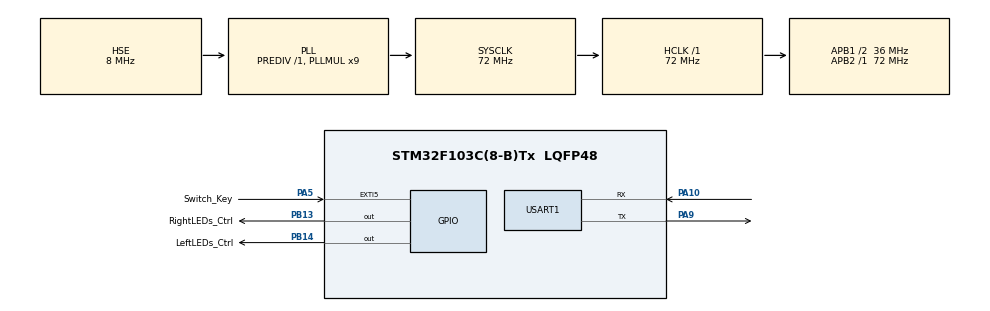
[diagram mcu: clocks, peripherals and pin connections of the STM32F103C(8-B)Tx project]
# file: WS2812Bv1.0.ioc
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Mcu.Family=STM32F1
Mcu.Name=STM32F103C(8-B)Tx
Mcu.Package=LQFP48
NVIC.EXTI9_5_IRQn=true\:0\:0\:false\:false\:true\:true
NVIC.PriorityGroup=NVIC_PRIORITYGROUP_4
NVIC.TIM3_IRQn=true\:0\:0\:false\:true\:true\:2\:true
NVIC.USART1_IRQn=true\:0\:0\:false\:true\:true\:1\:true
PA10.Mode=Asynchronous
PA10.Signal=USART1_RX
PA13.Mode=Serial_Wire
PA13.Signal=SYS_JTMS-SWDIO
PA14.Mode=Serial_Wire
PA14.Signal=SYS_JTCK-SWCLK
PA5.GPIO_Label=Switch_Key
PA5.Signal=GPXTI5
PA9.Mode=Asynchronous
PA9.Signal=USART1_TX
PB13.GPIO_Label=RightLEDs_Ctrl
PB13.GPIO_Speed=GPIO_SPEED_FREQ_HIGH
PB13.PinState=GPIO_PIN_RESET
PB13.Signal=GPIO_Output
PB14.GPIO_Label=LeftLEDs_Ctrl
PB14.GPIO_Speed=GPIO_SPEED_FREQ_HIGH
PB14.PinState=GPIO_PIN_RESET
PB14.Signal=GPIO_Output
PD0-OSC_IN.Mode=HSE-External-Oscillator
PD0-OSC_IN.Signal=RCC_OSC_IN
PD1-OSC_OUT.Mode=HSE-External-Oscillator
PD1-OSC_OUT.Signal=RCC_OSC_OUT
ProjectManager.HeapSize=0x200
ProjectManager.StackSize=0x400
ProjectManager.TargetToolchain=EWARM
RCC.AHBFreq_Value=72000000
RCC.APB1CLKDivider=RCC_HCLK_DIV2
RCC.APB1Freq_Value=36000000
RCC.APB1TimFreq_Value=72000000
RCC.APB2Freq_Value=72000000
RCC.APB2TimFreq_Value=72000000
RCC.HCLKFreq_Value=72000000
RCC.PLLMUL=RCC_PLL_MUL9
RCC.PLLSourceVirtual=RCC_PLLSOURCE_HSE
RCC.SYSCLKFreq_VALUE=72000000
RCC.SYSCLKSource=RCC_SYSCLKSOURCE_PLLCLK
RCC.USBFreq_Value=72000000
TIM3.Period=1000-1
TIM3.Prescaler=7200-1
USART1.VirtualMode=VM_ASYNC
VP_TIM3_VS_ClockSourceINT.Mode=Internal
board=WS2812Bv1.0

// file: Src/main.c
/**
  ******************************************************************************
  * @file           : main.c
  * @brief          : Main program body
  ******************************************************************************
  ** This notice applies to any and all portions of this file
  * that are not between comment pairs USER CODE BEGIN and
  * USER CODE END. Other portions of this file, whether
  * inserted by the user or by software development tools
  * are owned by their respective copyright owners.
  *
  * COPYRIGHT(c) 2018 STMicroelectronics
  *
  * Redistribution and use in source and binary forms, with or without modification,
  * are permitted provided that the following conditions are met:
  *   1. Redistributions of source code must retain the above copyright notice,
  *      this list of conditions and the following disclaimer.
  *   2. Redistributions in binary form must reproduce the above copyright notice,
  *      this list of conditions and the following disclaimer in the documentation
  *      and/or other materials provided with the distribution.
  *   3. Neither the name of STMicroelectronics nor the names of its contributors
  *      may be used to endorse or promote products derived from this software
  *      without specific prior written permission.
  *
  * THIS SOFTWARE IS PROVIDED BY THE COPYRIGHT HOLDERS AND CONTRIBUTORS "AS IS"
  * AND ANY EXPRESS OR IMPLIED WARRANTIES, INCLUDING, BUT NOT LIMITED TO, THE
  * IMPLIED WARRANTIES OF MERCHANTABILITY AND FITNESS FOR A PARTICULAR PURPOSE ARE
  * DISCLAIMED. IN NO EVENT SHALL THE COPYRIGHT HOLDER OR CONTRIBUTORS BE LIABLE
  * FOR ANY DIRECT, INDIRECT, INCIDENTAL, SPECIAL, EXEMPLARY, OR CONSEQUENTIAL
  * DAMAGES (INCLUDING, BUT NOT LIMITED TO, PROCUREMENT OF SUBSTITUTE GOODS OR
  * SERVICES; LOSS OF USE, DATA, OR PROFITS; OR BUSINESS INTERRUPTION) HOWEVER
  * CAUSED AND ON ANY THEORY OF LIABILITY, WHETHER IN CONTRACT, STRICT LIABILITY,
  * OR TORT (INCLUDING NEGLIGENCE OR OTHERWISE) ARISING IN ANY WAY OUT OF THE USE
  * OF THIS SOFTWARE, EVEN IF ADVISED OF THE POSSIBILITY OF SUCH DAMAGE.
  *
  ******************************************************************************
  */
#include "main.h"
#include "stm32f1xx_hal.h"
#include "tim.h"
#include "usart.h"
#include "gpio.h"

/* USER CODE BEGIN Includes */
#include "bsp_ws2812b.h"
/* USER CODE END Includes */

/* USER CODE BEGIN PV */
/* Private variables ---------------------------------------------------------*/
uint8_t gModeChangeFlag;
uint8_t gModeCode;
uint8_t gDisplayedFlag;
uint8_t gTimer3CntFlag;
uint8_t gFlashNumberCnt;
uint8_t gFlashColorCnt;
uint8_t leds[108] = {0};
/* USER CODE END PV */

void SystemClock_Config(void);
static void MX_NVIC_Init(void);

/* USER CODE BEGIN PFP */
/* Private function prototypes -----------------------------------------------*/

/* USER CODE END PFP */

int main(void)
{

  /* MCU Configuration----------------------------------------------------------*/

  /* Reset of all peripherals, Initializes the Flash interface and the Systick. */
  HAL_Init();

  /* Configure the system clock */
  SystemClock_Config();

  /* Initialize all configured peripherals */
  MX_GPIO_Init();
  MX_USART1_UART_Init();
  MX_TIM3_Init();

  /* Initialize interrupts */
  MX_NVIC_Init();
  /* USER CODE BEGIN 2 */
  HAL_TIM_Base_Start_IT(&htim3);
  gModeCode = 1;

  /* USER CODE END 2 */

  /* Infinite loop */
  while (1)
  {

  /* USER CODE BEGIN 3 */
    bsp_ws2812bFlashModeOne();
    bsp_ws2812bFlashModeTwo();
    bsp_ws2812bFlashModeThree();
    bsp_ws2812bFlashModeFour();

    if(gTimer3CntFlag)
    {
      gTimer3CntFlag = 0;

      asm("NOP");       //为什么添加适当延时之后，LED控制才不会跳闪，如果不添加此延时会出现跳闪现象
      asm("NOP");

      bsp_ws2812bSendArryDataToLeft(leds,108);
      bsp_ws2812bSendArryDataToRight(leds,108);

      gDisplayedFlag = 1;
    }

  }
  /* USER CODE END 3 */

}

void SystemClock_Config(void)
{

  RCC_OscInitTypeDef RCC_OscInitStruct;
  RCC_ClkInitTypeDef RCC_ClkInitStruct;

    /**Initializes the CPU, AHB and APB busses clocks
    */
  RCC_OscInitStruct.OscillatorType = RCC_OSCILLATORTYPE_HSE;
  RCC_OscInitStruct.HSEState = RCC_HSE_ON;
  RCC_OscInitStruct.HSEPredivValue = RCC_HSE_PREDIV_DIV1;
  RCC_OscInitStruct.HSIState = RCC_HSI_ON;
  RCC_OscInitStruct.PLL.PLLState = RCC_PLL_ON;
  RCC_OscInitStruct.PLL.PLLSource = RCC_PLLSOURCE_HSE;
  RCC_OscInitStruct.PLL.PLLMUL = RCC_PLL_MUL9;
  if (HAL_RCC_OscConfig(&RCC_OscInitStruct) != HAL_OK)
  {
    _Error_Handler(__FILE__, __LINE__);
  }

    /**Initializes the CPU, AHB and APB busses clocks
    */
  RCC_ClkInitStruct.ClockType = RCC_CLOCKTYPE_HCLK|RCC_CLOCKTYPE_SYSCLK
                              |RCC_CLOCKTYPE_PCLK1|RCC_CLOCKTYPE_PCLK2;
  RCC_ClkInitStruct.SYSCLKSource = RCC_SYSCLKSOURCE_PLLCLK;
  RCC_ClkInitStruct.AHBCLKDivider = RCC_SYSCLK_DIV1;
  RCC_ClkInitStruct.APB1CLKDivider = RCC_HCLK_DIV2;
  RCC_ClkInitStruct.APB2CLKDivider = RCC_HCLK_DIV1;

  if (HAL_RCC_ClockConfig(&RCC_ClkInitStruct, FLASH_LATENCY_2) != HAL_OK)
  {
    _Error_Handler(__FILE__, __LINE__);
  }

    /**Configure the Systick interrupt time
    */
  HAL_SYSTICK_Config(HAL_RCC_GetHCLKFreq()/1000);

    /**Configure the Systick
    */
  HAL_SYSTICK_CLKSourceConfig(SYSTICK_CLKSOURCE_HCLK);

  /* SysTick_IRQn interrupt configuration */
  HAL_NVIC_SetPriority(SysTick_IRQn, 0, 0);
}

/**
  * @brief NVIC Configuration.
  * @retval None
  */
static void MX_NVIC_Init(void)
{
  /* USART1_IRQn interrupt configuration */
  HAL_NVIC_SetPriority(USART1_IRQn, 0, 0);
  HAL_NVIC_EnableIRQ(USART1_IRQn);
  /* TIM3_IRQn interrupt configuration */
  HAL_NVIC_SetPriority(TIM3_IRQn, 0, 0);
  HAL_NVIC_EnableIRQ(TIM3_IRQn);
}

/* USER CODE BEGIN 4 */
/**
  * @brief  Period elapsed callback in non blocking mode
  * @param  htim : TIM handle
  * @retval None
  */
void HAL_TIM_PeriodElapsedCallback(TIM_HandleTypeDef *htim)
{
  /* Prevent unused argument(s) compilation warning */
  UNUSED(htim);
  /* NOTE : This function Should not be modified, when the callback is needed,
            the __HAL_TIM_PeriodElapsedCallback could be implemented in the user file
   */
  if(htim3.Instance == htim->Instance)
  {
    gTimer3CntFlag = 1;
  }

}

/**
  * @brief  EXTI line detection callbacks.
  * @param  GPIO_Pin: Specifies the pins connected EXTI line
  * @retval None
  */
void HAL_GPIO_EXTI_Callback(uint16_t GPIO_Pin)
{
  /* Prevent unused argument(s) compilation warning */
  UNUSED(GPIO_Pin);
  /* NOTE: This function Should not be modified, when the callback is needed,
           the HAL_GPIO_EXTI_Callback could be implemented in the user file
   */

  if(Switch_Key_Pin == GPIO_Pin)
  {

      gModeChangeFlag = 1;
      gModeCode++;
      if(gModeCode > 4) //四种切换模式
      {
       gModeCode = 1;
      }
  }
}
/* USER CODE END 4 */

void _Error_Handler(char *file, int line)
{
  while(1)
  {
  }
}

/************************ (C) COPYRIGHT STMicroelectronics *****END OF FILE****/
